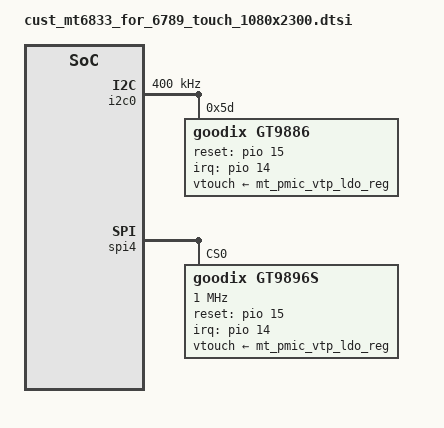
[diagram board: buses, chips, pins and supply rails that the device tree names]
// SPDX-License-Identifier: (GPL-2.0 OR MIT)
/*
 * Copyright (C) 2020 MediaTek Inc.
 */

/* TOUCH start */
&i2c0 {
	clock-frequency = <400000>;
	pinctrl-names = "default", "ts_int_active",
		"ts_reset_active", "ts_int_suspend",
		"ts_reset_suspend", "ts_i2c_mode";
	pinctrl-0 = <&ctp_pins_default>;
	pinctrl-1 = <&ctp_ts_int_active>;
	pinctrl-2 = <&ctp_ts_reset_active>;
	pinctrl-3 = <&ctp_ts_int_suspend>;
	pinctrl-4 = <&ctp_ts_reset_suspend>;
	pinctrl-5 = <&ctp_ts_i2c_mode>;
	gt9886@5d {
		compatible = "goodix,gt9886";
		reg = <0x5d>;
		status = "ok";
		interrupt-parent = <&pio>;
		interrupts = <14 IRQ_TYPE_EDGE_FALLING 14 0>;
		vtouch-supply = <&mt_pmic_vtp_ldo_reg>;
		goodix,reset-gpio = <&pio 15 0x0>;
		goodix,irq-gpio = <&pio 14 0x0>;
		goodix,irq-flags = <2>; /* 1:rising, 2:falling;*/
		goodix,panel-max-id = <10>;
		goodix,panel-max-x = <1080>;
		goodix,panel-max-y = <2280>;
		goodix,panel-max-w = <256>;
		goodix,panel-max-p = <256>;
		goodix,input-max-x = <1080>;
		goodix,input-max-y = <2280>;
		goodix,panel-key-map = <158 172 217>; /*BACK,HOMEPAGE,SEARCH*/
		goodix,power-on-delay-us = <10000>; /*10ms*/
		goodix,power-off-delay-us = <5000>;
		goodix,firmware-version = "6893v01";
		goodix,config-version = "6893v01";
		/*goodix,swap-axis;*/
		/*goodix,x2x;*/
		/*goodix,y2y;*/
		goodix,pen-enable;
		goodix,key-of-pen = <331 332>;/*BTN_STYLUS, BTN_STYLUS2*/
		tpd-filter-enable = <0>;
		tpd-filter-pixel-density = <161>;
		tpd-filter-custom-prameters = <0 0 0 0 0 0 0 0 0 0 0 0>;
		tpd-filter-custom-speed = <0 0 0>;
	};
};

&spi4 {
	status = "okay";
	#address-cells = <1>;
	#size-cells = <0>;
	pinctrl-names = "default", "gt9896s_int_active",
		"gt9896s_reset_active", "gt9896s_int_suspend",
		"gt9896s_reset_suspend", "gt9896s_spi_mode";
	pinctrl-0 = <&ctp_gt9896s_pins_default>;
	pinctrl-1 = <&ctp_gt9896s_int_active>;
	pinctrl-2 = <&ctp_gt9896s_reset_active>;
	pinctrl-3 = <&ctp_gt9896s_int_suspend>;
	pinctrl-4 = <&ctp_gt9896s_reset_suspend>;
	pinctrl-5 = <&ctp_gt9896s_spi_mode>;

	gt9896s@0 {
		compatible = "goodix,gt9896s";
		reg = <0>; //Same as CS ID
		spi-max-frequency = <1000000>;

		goodix,avdd-name = "vtouch";
		vtouch-supply = <&mt_pmic_vtp_ldo_reg>;
		goodix,reset-gpio = <&pio 15 0x0>;
		goodix,irq-gpio = <&pio 14 0x0>;
		goodix,irq-flags = <2>; /* 1:rising, 2:falling;*/
		goodix,panel-max-id = <10>;
		goodix,panel-max-x = <1080>;
		goodix,panel-max-y = <2300>;
		goodix,panel-max-w = <256>;
		goodix,panel-max-p = <256>;
		goodix,input-max-x = <1080>;
		goodix,input-max-y = <2300>;
		goodix,panel-key-map = <158 172 217>; /*BACK,HOMEPAGE,SEARCH*/
		goodix,power-on-delay-us = <10000>; /*10ms*/
		goodix,power-off-delay-us = <5000>;
		goodix,firmware-version = "6833v01";
		goodix,config-version = "6833v01";
		/*goodix,swap-axis;*/
		/*goodix,x2x;*/
		/*goodix,y2y;*/
		goodix,pen-enable;
		tpd-filter-enable = <0>;
		tpd-filter-pixel-density = <161>;
		tpd-filter-custom-prameters = <0 0 0 0 0 0 0 0 0 0 0 0>;
		tpd-filter-custom-speed = <0 0 0>;
	};

};
&pio {
	ctp_pins_default: eintdefault {
	};
	ctp_gt9896s_pins_default: pins_default {
	};
	ctp_ts_int_active: int_active {
		pins_cmd_dat {
			pinmux = <PINMUX_GPIO14__FUNC_GPIO14>;
			input-enable;
		};
	};
	ctp_ts_reset_active: reset_active {
		pins_cmd_dat {
			pinmux = <PINMUX_GPIO15__FUNC_GPIO15>;
			output-high;
		};
	};
	ctp_ts_int_suspend: int_suspend {
		pins_cmd_dat {
			pinmux = <PINMUX_GPIO14__FUNC_GPIO14>;
			output-low;
		};
	};
	ctp_ts_reset_suspend: reset_suspend {
		pins_cmd_dat {
			pinmux = <PINMUX_GPIO15__FUNC_GPIO15>;
			output-low;
		};
	};
	ctp_ts_i2c_mode: i2cmode_default {
		pins_cmd_dat {
			pinmux = <PINMUX_GPIO97__FUNC_SCL0>,
				<PINMUX_GPIO98__FUNC_SDA0>;
		};
	};
	ctp_ts_int_as_gpio: int_high {
		pins_cmd_dat {
			pinmux = <PINMUX_GPIO14__FUNC_GPIO14>;
			output-high;
		};
	};
	ctp_gt9896s_int_active: int1_active {
		pins_cmd_dat {
			pinmux = <PINMUX_GPIO14__FUNC_GPIO14>;
			input-enable;
		};
	};
	ctp_gt9896s_reset_active: reset1_active {
		pins_cmd_dat {
			pinmux = <PINMUX_GPIO15__FUNC_GPIO15>;
			output-high;
		};
	};
	ctp_gt9896s_int_suspend: int1_suspend {
		pins_cmd_dat {
			pinmux = <PINMUX_GPIO14__FUNC_GPIO14>;
			output-low;
		};
	};
	ctp_gt9896s_reset_suspend: reset1_suspend {
		pins_cmd_dat {
			pinmux = <PINMUX_GPIO15__FUNC_GPIO15>;
			output-low;
		};
	};
	ctp_gt9896s_spi_mode: spimode_default {
		pins_cmd_dat {
			pinmux = <PINMUX_GPIO12__FUNC_SPI4_MI>,
				<PINMUX_GPIO13__FUNC_SPI4_MO>,
				<PINMUX_GPIO97__FUNC_SPI4_CLK>,
				<PINMUX_GPIO98__FUNC_SPI4_CSB>;
			drive-strength = <2>;
		};
	};
};
/* TOUCH end */
